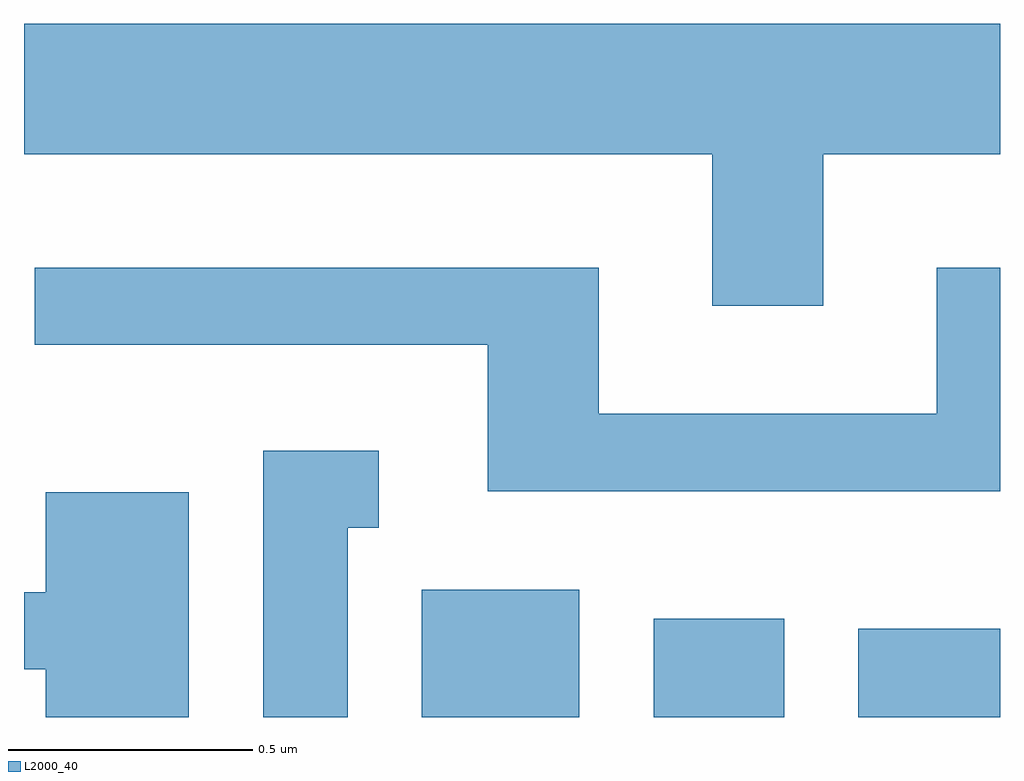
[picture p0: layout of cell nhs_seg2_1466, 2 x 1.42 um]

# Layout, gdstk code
import gdstk
lib = gdstk.Library(unit=1e-6, precision=1e-09)
def R(c, l, rs):  # rectangles x0, y0, x1, y1
    for r in rs: c.add(gdstk.rectangle(r[:2], r[2:], *l))
def P(c, l, *ps):  # polygons
    for p in ps: c.add(gdstk.Polygon(p, *l))
L2000_40 = (2000, 40)

nhs_seg2_1466 = lib.new_cell('nhs_seg2_1466')
R(nhs_seg2_1466, L2000_40, [(196.426,1073.802,196.749,1074.064), (196.901,1073.802,197.169,1074.004), (197.321,1073.802,197.611,1073.984)])
P(nhs_seg2_1466, L2000_40, [(197.249,1074.956),(197.611,1074.956),(197.611,1075.224),(195.611,1075.224),(195.611,1074.956),(197.021,1074.956),(197.021,1074.646),(197.249,1074.646)],
  [(197.611,1074.724),(197.481,1074.724),(197.481,1074.424),(196.789,1074.424),(196.789,1074.724),(195.633,1074.724),(195.633,1074.566),(196.561,1074.566),(196.561,1074.266),(197.611,1074.266)],
  [(196.274,1074.191),(196.338,1074.191),(196.338,1074.349),(196.101,1074.349),(196.101,1073.802),(196.274,1073.802)],
  [(195.949,1074.264),(195.656,1074.264),(195.656,1074.059),(195.611,1074.059),(195.611,1073.901),(195.656,1073.901),(195.656,1073.802),(195.949,1073.802)])

lib.write_gds('nhs_seg2_1466.gds')
